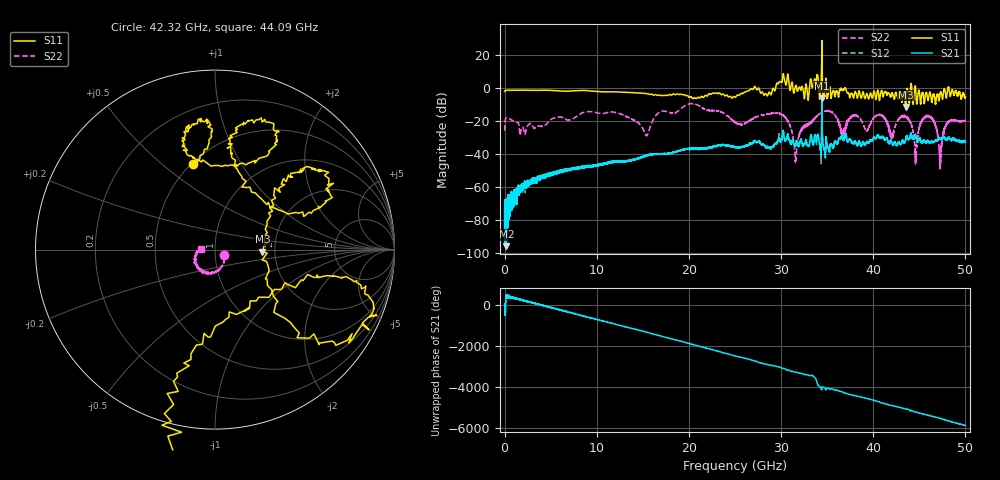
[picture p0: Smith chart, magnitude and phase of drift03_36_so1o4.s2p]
!Created with skrf (http://scikit-rf.org).
# Hz S RI R 50.0
!freq ReS11 ImS11 ReS21 ImS21 ReS12 ImS12 ReS22 ImS22
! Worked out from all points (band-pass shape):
!   10000 points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, 5.3 MHz to 50 GHz, reference 50 ohm
!   highest |S21| = -6.25 dB at 34.43 GHz (marker M1); lowest = -96.0 dB at 195.3 MHz (marker M2)
!   |S21| within 3 dB of the highest: 34.42753 GHz to 34.43469 GHz (7.16 MHz wide, 0.0208 % of centre)
!   lowest |S11| = -11.5 dB at 43.52 GHz (marker M3), VSWR 1.72, Z = 85.9 - j2.21 ohm
!   |S11| at or under -10 dB: 43.49148 GHz to 43.54308 GHz (51.6 MHz wide, 0.119 % of centre)
!   |S22| runs from -49.1 to -9.4 dB; largest |S21 - S12| = 0.15
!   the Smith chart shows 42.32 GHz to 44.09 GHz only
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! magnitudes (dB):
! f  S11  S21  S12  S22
! 5.3 MHz  -2.1  -85.3  -75.9  -25.9
! 195.3 MHz  -1.4  -96.0  -75.0  -18.0
! 2.28 GHz  -1.3  -60.0  -57.2  -27.0
! 8.34 GHz  -1.5  -48.1  -48.0  -15.3
! 15.39 GHz  -3.4  -40.9  -40.9  -28.8
! 16.67 GHz  -4.4  -40.0  -40.0  -15.3
! 20.46 GHz  -6.5  -37.1  -36.7  -9.5
! 25.01 GHz  -5.5  -35.8  -35.6  -20.9
! 29.96 GHz  3.9  -32.7  -32.2  -15.8
! 31.6 GHz  1.5  -33.6  -34.0  -43.5
! 33.34 GHz  2.6  -30.2  -30.7  -20.2
! 34.43 GHz  28.8  -6.2  -8.2  -14.6
! 36.69 GHz  -1.4  -29.9  -29.7  -29.1
! 37.97 GHz  -3.0  -32.4  -32.3  -16.5
! 41.67 GHz  -3.0  -33.1  -33.4  -23.8
! 43.52 GHz  -11.5  -31.1  -31.3  -17.6
! 44.62 GHz  -2.1  -29.3  -29.5  -44.9
! 45.28 GHz  -3.6  -32.7  -32.9  -19.3
! 46.28 GHz  -5.7  -33.0  -32.8  -17.7
! 47.28 GHz  -3.0  -30.9  -30.8  -44.4
! 48.14 GHz  0.5  -30.1  -29.8  -20.8
! 50 GHz  -5.3  -32.8  -32.6  -19.7
